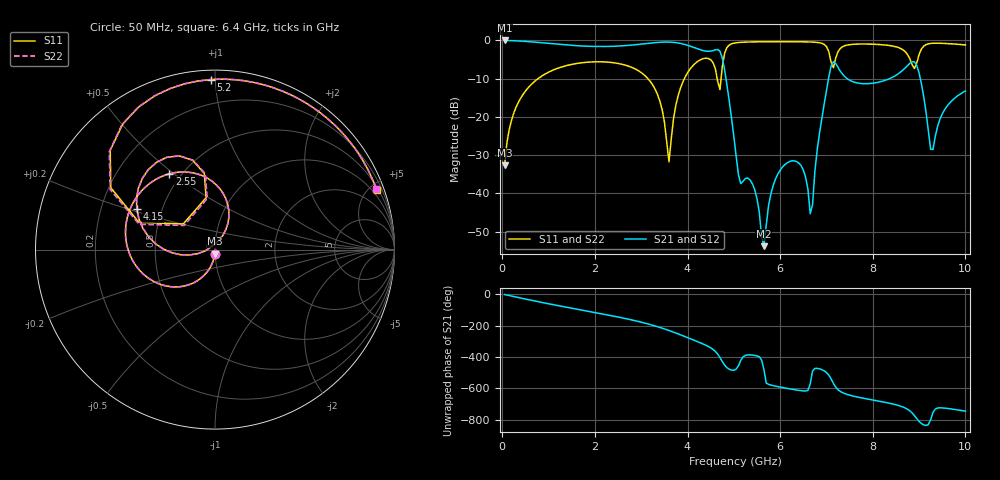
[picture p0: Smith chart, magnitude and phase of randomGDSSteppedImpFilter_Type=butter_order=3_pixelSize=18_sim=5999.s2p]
! freq	dB(S11)	phase(S11)	dB(S12)	phase(S12)
!  dB(S21)	phase(S21)	dB(S22)	phase(S22)
!S-par simulation data
#  GHz  S  DB  R 50
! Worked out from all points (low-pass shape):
!   200 points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, 50 MHz to 10 GHz, reference 50 ohm
!   highest |S21| = -0.01 dB at 50 MHz (marker M1); lowest = -53.8 dB at 5.65 GHz (marker M2)
!   |S21| within 3 dB of the highest: start of sweep to 4.705 GHz
!   lowest |S11| = -32.7 dB at 50 MHz (marker M3), VSWR 1.05, Z = 49.8 - j2.31 ohm
!   |S11| at or under -10 dB: start of sweep to 772.3 MHz; 3.146 GHz to 3.932 GHz (786.5 MHz wide, 22.2 % of centre); 4.64 GHz to 4.724 GHz (84.15 MHz wide, 1.8 % of centre)
!   |S22| runs from -32.7 to -0.3 dB; largest |S21 - S12| = 0
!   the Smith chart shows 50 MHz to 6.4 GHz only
!   S11 on the Smith chart (normalised r, x): 50 MHz: 1.00, -0.05; 2.55 GHz: 0.43, +0.48; 4.15 GHz: 0.36, +0.21; 5.2 GHz: 0.05, +0.98; 6.4 GHz: 0.64, +5.49
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0.05  -32.70 -93.2  -0.01 -3.3  -0.01 -3.3  -32.70 -93.2
0.5  -13.25 -122.4  -0.25 -31.9  -0.25 -31.9  -13.25 -122.4
1.75  -5.80 165.8  -1.48 -103.7  -1.48 -103.7  -5.80 165.9
2.55  -6.14 121.1  -1.44 -148.9  -1.44 -148.9  -6.14 121.1
3.4  -15.77 63.7  -0.48 148.1  -0.48 148.1  -15.77 63.9
3.6  -31.74 133.1  -0.43 128.3  -0.43 128.3  -31.66 133.0
3.8  -14.32 -171.4  -0.67 106.4  -0.67 106.4  -14.32 -171.4
4.15  -6.18 152.6  -1.91 65.5  -1.91 65.5  -6.18 152.6
4.7  -12.86 141.2  -2.83 -43.4  -2.83 -43.4  -13.22 142.0
4.8  -3.41 149.3  -7.67 -91.1  -7.67 -91.1  -3.44 150.2
5.05  -0.61 105.3  -30.27 -117.2  -30.27 -117.2  -0.62 105.7
5.2  -0.47 91.3  -36.82 -39.2  -36.82 -39.2  -0.47 91.7
5.65  -0.35 60.9  -53.81 -120.0  -53.81 -120.0  -0.35 61.2
5.9  -0.33 46.8  -36.24 134.7  -36.24 134.7  -0.33 47.0
6.4  -0.35 20.4  -32.03 108.2  -32.03 108.2  -0.35 20.6
6.7  -0.43 3.7  -42.93 -129.0  -42.93 -129.0  -0.43 4.0
7.15  -7.13 -4.3  -5.58 152.5  -5.58 152.5  -7.04 -4.3
7.45  -1.21 -11.1  -10.01 81.9  -10.01 81.9  -1.21 -11.0
8.35  -1.31 -55.2  -10.06 27.0  -10.06 27.0  -1.31 -55.0
8.95  -5.89 -44.2  -6.54 -71.3  -6.54 -71.3  -5.87 -44.1
9.25  -0.79 -66.7  -28.46 -78.4  -28.46 -78.4  -0.79 -66.5
10  -1.18 -105.9  -13.23 -23.8  -13.23 -23.8  -1.17 -105.6
